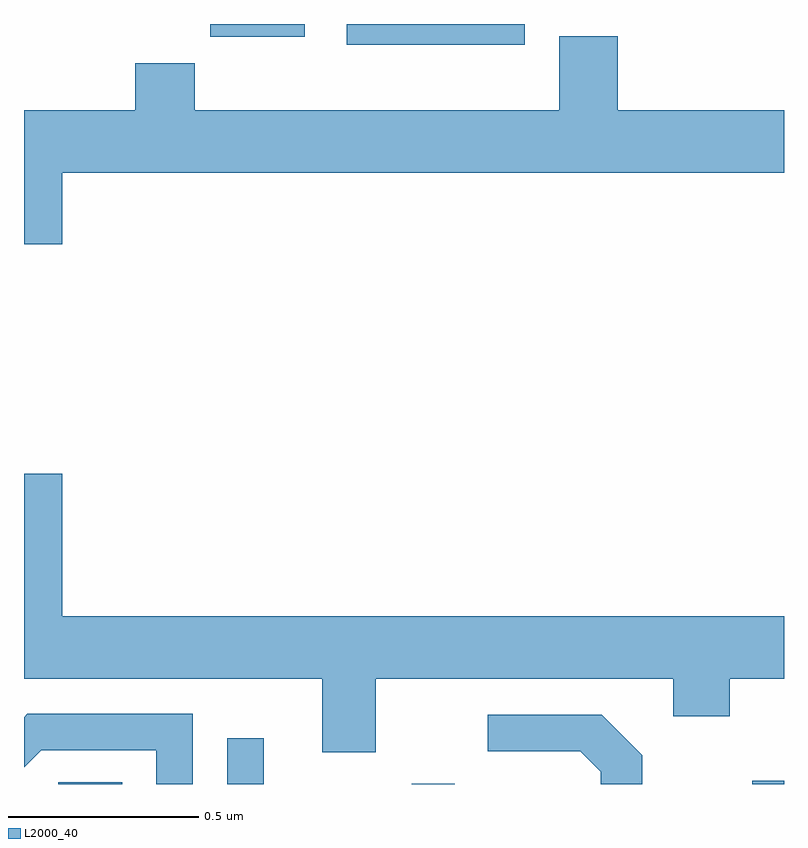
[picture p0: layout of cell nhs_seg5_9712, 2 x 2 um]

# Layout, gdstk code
import gdstk
lib = gdstk.Library(unit=1e-6, precision=1e-09)
def R(c, l, rs):  # rectangles x0, y0, x1, y1
    for r in rs: c.add(gdstk.rectangle(r[:2], r[2:], *l))
def P(c, l, *ps):  # polygons
    for p in ps: c.add(gdstk.Polygon(p, *l))
L2000_40 = (2000, 40)

nhs_seg5_9712 = lib.new_cell('nhs_seg5_9712')
R(nhs_seg5_9712, L2000_40, [(237.09,873.799,237.258,873.803), (237.535,873.799,237.631,873.919), (238.021,873.799,238.133,873.8), (238.917,873.799,239,873.808), (237.849,875.744,238.318,875.799), (237.49,875.766,237.739,875.799)])
P(nhs_seg5_9712, L2000_40, [(237.1,875.408),(239,875.408),(239,875.572),(238.562,875.572),(238.562,875.767),(238.409,875.767),(238.409,875.572),(237.449,875.572),(237.449,875.696),(237.293,875.696),(237.293,875.572),(237,875.572),(237,875.22),(237.1,875.22)],
  [(237.925,874.076),(238.709,874.076),(238.709,873.977),(238.857,873.977),(238.857,874.076),(239,874.076),(239,874.24),(237.1,874.24),(237.1,874.615),(237,874.615),(237,874.076),(237.785,874.076),(237.785,873.882),(237.925,873.882)],
  [(237.444,873.984),(237.009,873.984),(237,873.975),(237,873.843),(237.045,873.888),(237.348,873.888),(237.348,873.799),(237.444,873.799)],
  [(238.627,873.875),(238.521,873.981),(238.221,873.981),(238.221,873.885),(238.464,873.885),(238.518,873.831),(238.518,873.799),(238.627,873.799)])

lib.write_gds('nhs_seg5_9712.gds')
